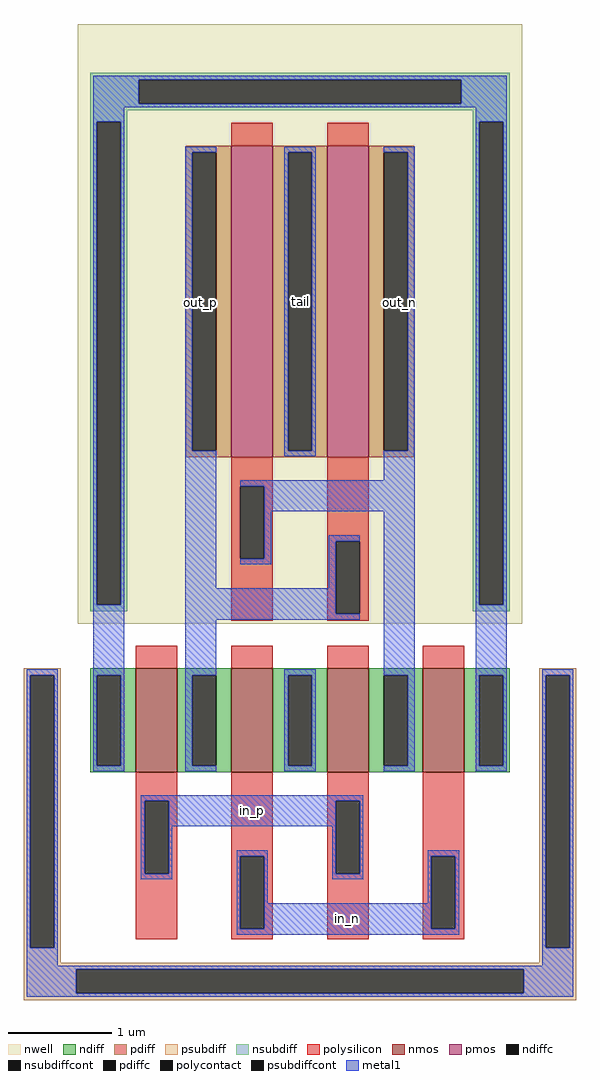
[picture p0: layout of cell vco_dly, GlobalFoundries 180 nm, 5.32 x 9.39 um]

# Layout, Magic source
magic
tech gf180mcuD
magscale 1 10
<< nwell >>
rect -428 724 428 1878
<< nmos >>
rect -316 438 -236 638
rect -132 438 -52 638
rect 52 438 132 638
rect 236 438 316 638
<< pmos >>
rect -132 1044 -52 1644
rect 52 1044 132 1644
<< ndiff >>
rect -404 625 -316 638
rect -404 451 -391 625
rect -345 451 -316 625
rect -404 438 -316 451
rect -236 625 -132 638
rect -236 451 -207 625
rect -161 451 -132 625
rect -236 438 -132 451
rect -52 625 52 638
rect -52 451 -23 625
rect 23 451 52 625
rect -52 438 52 451
rect 132 625 236 638
rect 132 451 161 625
rect 207 451 236 625
rect 132 438 236 451
rect 316 625 404 638
rect 316 451 345 625
rect 391 451 404 625
rect 316 438 404 451
<< pdiff >>
rect -220 1631 -132 1644
rect -220 1057 -207 1631
rect -161 1057 -132 1631
rect -220 1044 -132 1057
rect -52 1631 52 1644
rect -52 1057 -23 1631
rect 23 1057 52 1631
rect -52 1044 52 1057
rect 132 1631 220 1644
rect 132 1057 161 1631
rect 207 1057 220 1631
rect 132 1044 220 1057
<< ndiffc >>
rect -391 451 -345 625
rect -207 451 -161 625
rect -23 451 23 625
rect 161 451 207 625
rect 345 451 391 625
<< pdiffc >>
rect -207 1057 -161 1631
rect -23 1057 23 1631
rect 161 1057 207 1631
<< psubdiff >>
rect -532 625 -460 638
rect -532 101 -519 625
rect -473 101 -460 625
rect 460 625 532 638
rect -532 72 -460 101
rect 460 101 473 625
rect 519 101 532 625
rect 460 72 532 101
rect -532 59 532 72
rect -532 13 -431 59
rect 431 13 532 59
rect -532 0 532 13
<< nsubdiff >>
rect -404 1771 404 1784
rect -404 1725 -310 1771
rect 310 1725 404 1771
rect -404 1712 404 1725
rect -404 1690 -332 1712
rect -404 761 -391 1690
rect -345 761 -332 1690
rect 332 1690 404 1712
rect -404 748 -332 761
rect 332 761 345 1690
rect 391 761 404 1690
rect 332 748 404 761
<< psubdiffcont >>
rect -519 101 -473 625
rect 473 101 519 625
rect -431 13 431 59
<< nsubdiffcont >>
rect -310 1725 310 1771
rect -391 761 -345 1690
rect 345 761 391 1690
<< polysilicon >>
rect -132 1644 -52 1688
rect 52 1644 132 1688
rect -132 989 -52 1044
rect -132 849 -115 989
rect -69 849 -52 989
rect -132 730 -52 849
rect 52 883 132 1044
rect 52 743 69 883
rect 115 743 132 883
rect 52 730 132 743
rect -316 638 -236 682
rect -132 638 -52 682
rect 52 638 132 682
rect 236 638 316 682
rect -316 383 -236 438
rect -316 243 -299 383
rect -253 243 -236 383
rect -316 117 -236 243
rect -132 277 -52 438
rect -132 137 -115 277
rect -69 137 -52 277
rect -132 117 -52 137
rect 52 383 132 438
rect 52 243 69 383
rect 115 243 132 383
rect 52 117 132 243
rect 236 277 316 438
rect 236 137 253 277
rect 299 137 316 277
rect 236 117 316 137
<< polycontact >>
rect -115 849 -69 989
rect 69 743 115 883
rect -299 243 -253 383
rect -115 137 -69 277
rect 69 243 115 383
rect 253 137 299 277
<< metal1 >>
rect -398 1771 398 1778
rect -398 1725 -310 1771
rect 310 1725 398 1771
rect -398 1718 398 1725
rect -398 1690 -338 1718
rect -398 761 -391 1690
rect -345 761 -338 1690
rect 338 1690 398 1718
rect -526 625 -466 636
rect -526 101 -519 625
rect -473 101 -466 625
rect -398 625 -338 761
rect -398 451 -391 625
rect -345 451 -338 625
rect -398 440 -338 451
rect -221 1631 -161 1642
rect -221 1057 -207 1631
rect -221 792 -161 1057
rect -30 1631 30 1642
rect -30 1057 -23 1631
rect 23 1057 30 1631
rect -30 1046 30 1057
rect 161 1631 221 1642
rect 207 1057 221 1631
rect 161 1000 221 1057
rect -115 989 221 1000
rect -69 940 221 989
rect -69 849 -55 940
rect -115 838 -55 849
rect 55 883 115 894
rect 55 792 69 883
rect -221 743 69 792
rect -221 732 115 743
rect -221 625 -161 732
rect -221 451 -207 625
rect -221 440 -161 451
rect -30 625 30 636
rect -30 451 -23 625
rect 23 451 30 625
rect -30 440 30 451
rect 161 625 221 940
rect 207 451 221 625
rect 161 440 221 451
rect 338 761 345 1690
rect 391 761 398 1690
rect 338 625 398 761
rect 338 451 345 625
rect 391 451 398 625
rect 338 440 398 451
rect 466 625 526 636
rect -306 383 122 394
rect -306 243 -299 383
rect -253 334 69 383
rect -253 243 -246 334
rect -306 232 -246 243
rect -122 277 -62 288
rect -122 137 -115 277
rect -69 186 -62 277
rect 62 243 69 334
rect 115 243 122 383
rect 62 232 122 243
rect 246 277 306 288
rect 246 186 253 277
rect -69 137 253 186
rect 299 137 306 277
rect -122 126 306 137
rect -526 66 -466 101
rect 466 101 473 625
rect 519 101 526 625
rect 466 66 526 101
rect -526 59 526 66
rect -526 13 -431 59
rect 431 13 526 59
rect -526 6 526 13
<< labels >>
flabel metal1 s -306 334 122 394 0 FreeSans 400 0 0 0 in_p
port 3 nsew
flabel metal1 s -122 126 306 186 0 FreeSans 400 0 0 0 in_n
port 4 nsew
flabel metal1 s -221 1044 -161 1642 0 FreeSans 400 0 0 0 out_p
port 5 nsew
flabel metal1 s 161 1044 221 1642 0 FreeSans 400 0 0 0 out_n
port 6 nsew
flabel metal1 s -30 1046 30 1642 0 FreeSans 400 0 0 0 tail
port 7 nsew
<< properties >>
string FIXED_BBOX -532 0 532 1784
<< end >>
